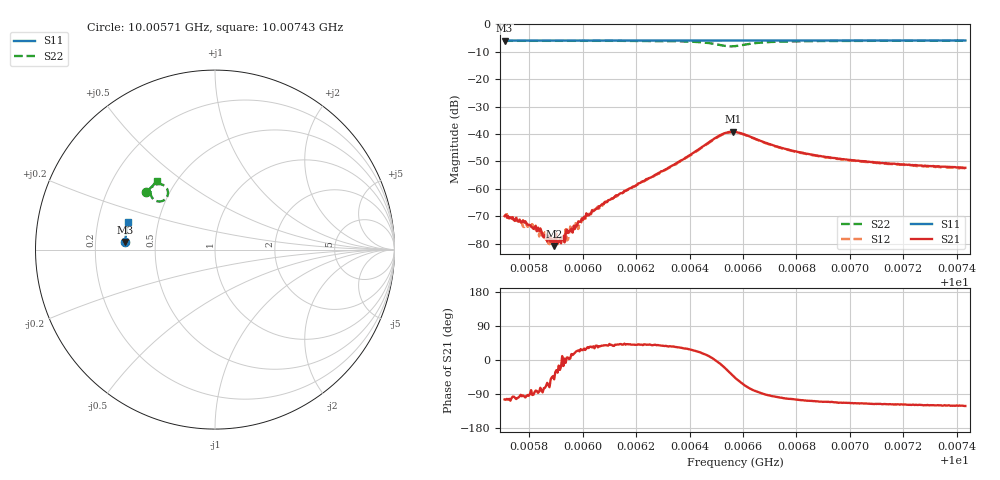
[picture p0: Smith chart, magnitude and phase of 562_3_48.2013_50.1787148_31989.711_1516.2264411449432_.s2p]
#  HZ  S  RI  R  50.00
! Rohde & Schwarz Vector Network Analyzer
! Rohde-Schwarz,ZNB20-2Port,1311601062101988,3.16
! Created: UTC 3/20/2024, 12:01:14 PM
! freq[Hz]  re:S11  im:S11  re:S21  im:S21  re:S12  im:S12  re:S22  im:S22
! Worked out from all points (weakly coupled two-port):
!   401 points, 10.00571 GHz to 10.00743 GHz, reference 50 ohm
!   highest |S21| = -39.18 dB at 10.00656 GHz (marker M1); lowest = -80.8 dB at 10.00589 GHz (marker M2)
!   lowest |S11| = -6.0 dB at 10.00571 GHz (marker M3), VSWR 3.01, Z = 16.6 + j1.88 ohm
!   |S11| at or under -10 dB: nowhere
!   |S22| runs from -8.1 to -6.0 dB; largest |S21 - S12| = 0.00074
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1.0005708e10  -0.5 0.0423  -7.75e-05 -0.00031  -6.04e-05 -0.000318  -0.3819 0.3185
1.0005759e10  -0.5 0.0456  -3.93e-05 -0.000249  -4.44e-05 -0.00029  -0.3796 0.3215
1.0005785e10  -0.4997 0.0473  -4e-05 -0.000254  -1.24e-05 -0.000247  -0.3781 0.3232
1.0005807e10  -0.4997 0.0487  3.74e-05 -0.000201  -4.52e-06 -0.000217  -0.377 0.3246
1.0005833e10  -0.4996 0.0504  1.12e-05 -0.000193  5.5e-05 -0.000189  -0.3757 0.3261
1.000585e10  -0.4995 0.0514  1.15e-05 -0.000145  1.94e-05 -0.000136  -0.3748 0.3273
1.0005876e10  -0.4994 0.0531  4.05e-05 -0.000124  4.77e-05 -8.63e-05  -0.3736 0.3289
1.0005893e10  -0.4993 0.0543  5.71e-05 -7.08e-05  8.76e-05 -6.73e-05  -0.3725 0.33
1.000591e10  -0.4991 0.0554  0.000103 -2.72e-05  0.000114 -2.16e-05  -0.3718 0.331
1.0005923e10  -0.4991 0.0562  0.000123 2.25e-05  0.000131 -2.22e-05  -0.3709 0.3318
1.0005945e10  -0.499 0.0577  0.000156 1.74e-05  0.000118 1.99e-05  -0.3696 0.3332
1.0005971e10  -0.4988 0.0594  0.000176 6.05e-05  0.000165 0.000111  -0.368 0.335
1.0005997e10  -0.4986 0.0611  0.000261 0.000127  0.000214 0.000141  -0.3666 0.3365
1.0006092e10  -0.4981 0.0671  0.00045 0.000358  0.000432 0.000411  -0.3601 0.3431
1.0006286e10  -0.4965 0.0797  0.00153 0.00123  0.0014 0.00127  -0.3398 0.3581
1.000651e10  -0.4936 0.0941  0.00916 -0.00119  0.009 -0.000656  -0.2637 0.3294
1.0006562e10  -0.493 0.0969  0.00829 -0.00721  0.00858 -0.00653  -0.2822 0.2768
1.000657e10  -0.493 0.0974  0.00748 -0.00795  0.00781 -0.00732  -0.2911 0.2717
1.0006661e10  -0.4927 0.1028  0.000574 -0.00765  0.000957 -0.0075  -0.3529 0.2938
1.0006859e10  -0.4906 0.1158  -0.0013 -0.00399  -0.00112 -0.00397  -0.3535 0.3422
1.0007148e10  -0.4866 0.1341  -0.00129 -0.00259  -0.00117 -0.00261  -0.3368 0.368
1.0007433e10  -0.482 0.152  -0.00126 -0.00207  -0.0011 -0.00211  -0.3213 0.3847
